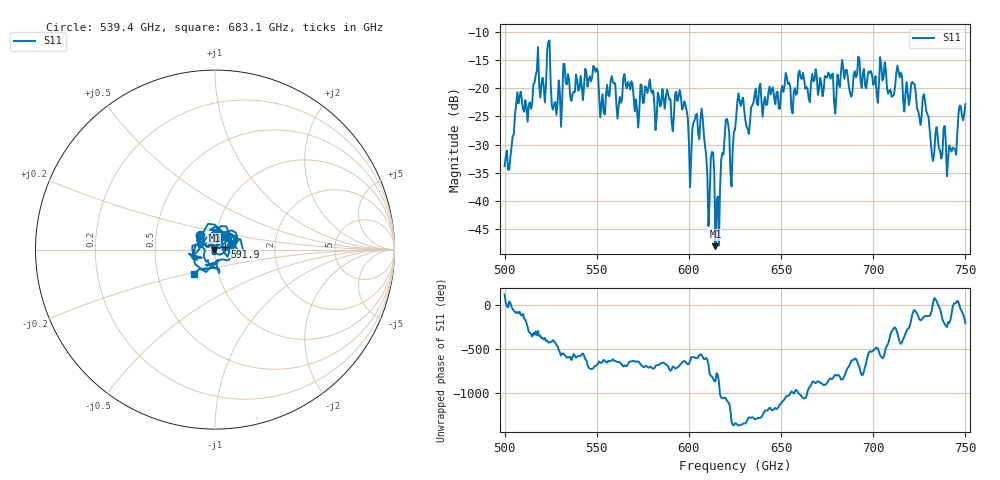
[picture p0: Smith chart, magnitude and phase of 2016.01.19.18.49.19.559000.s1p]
!Created with skrf (http://scikit-rf.org).
# GHz S RI R 50.0
!freq ReS11 ImS11
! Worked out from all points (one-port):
!   401 points, 500 GHz to 750 GHz, reference 50 ohm
!   lowest |S11| = -48.0 dB at 614.4 GHz (marker M1), VSWR 1.01, Z = 49.7 - j0.193 ohm
!   |S11| at or under -10 dB: start of sweep to end of sweep
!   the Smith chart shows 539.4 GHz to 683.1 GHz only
!   S11 on the Smith chart (normalised r, x): 539.4 GHz: 0.84, +0.14; 591.9 GHz: 1.12, +0.03; 683.1 GHz: 0.77, -0.21
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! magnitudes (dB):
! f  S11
! 500 GHz  -33.8
! 507.5 GHz  -22.7
! 513.8 GHz  -22.5
! 516.9 GHz  -17.7
! 531.2 GHz  -21.9
! 539.4 GHz  -18.6
! 549.4 GHz  -17.1
! 553.1 GHz  -21.1
! 558.8 GHz  -18.9
! 562.5 GHz  -21.6
! 565.6 GHz  -19.2
! 591.9 GHz  -24.7
! 593.8 GHz  -22.3
! 600.6 GHz  -37.6
! 607.5 GHz  -25.4
! 610 GHz  -35.5
! 614.4 GHz  -48.0
! 615.6 GHz  -39.2
! 619.4 GHz  -28.6
! 623.8 GHz  -30.9
! 625 GHz  -27.4
! 628.1 GHz  -23.2
! 656.2 GHz  -24.5
! 683.1 GHz  -15.0
! 687.5 GHz  -20.9
! 718.8 GHz  -21.1
! 741.2 GHz  -30.1
! 750 GHz  -22.8
